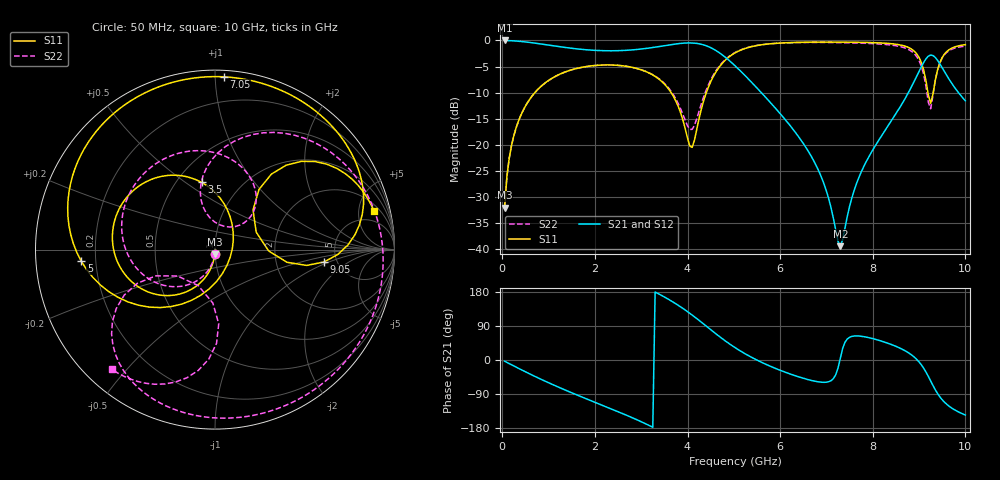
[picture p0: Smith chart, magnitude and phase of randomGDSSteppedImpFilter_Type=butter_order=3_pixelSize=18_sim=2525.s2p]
! freq	dB(S11)	phase(S11)	dB(S12)	phase(S12)
!  dB(S21)	phase(S21)	dB(S22)	phase(S22)
!S-par simulation data
#  GHz  S  DB  R 50
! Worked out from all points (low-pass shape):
!   200 points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, 50 MHz to 10 GHz, reference 50 ohm
!   highest |S21| = -0.01 dB at 50 MHz (marker M1); lowest = -39.4 dB at 7.3 GHz (marker M2)
!   |S21| within 3 dB of the highest: start of sweep to 4.785 GHz; 9.203 GHz to 9.315 GHz (111.9 MHz wide, 1.21 % of centre)
!   lowest |S11| = -32.0 dB at 50 MHz (marker M3), VSWR 1.05, Z = 49.8 - j2.49 ohm
!   |S11| at or under -10 dB: start of sweep to 704.3 MHz; 3.646 GHz to 4.406 GHz (760.2 MHz wide, 18.9 % of centre); 9.191 GHz to 9.305 GHz (114.1 MHz wide, 1.23 % of centre)
!   |S22| runs from -32.1 to -0.4 dB; largest |S21 - S12| = 0
!   S11 on the Smith chart (normalised r, x): 50 MHz: 1.00, -0.05; 3.5 GHz: 0.66, +0.58; 5 GHz: 0.14, -0.04; 7.05 GHz: 0.04, +1.05; 9.05 GHz: 3.95, -0.87; 10 GHz: 2.83, +7.20
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0.05  -32.05 -92.9  -0.01 -3.2  -0.01 -3.2  -32.05 -93.7
0.2  -20.12 -101.6  -0.06 -12.7  -0.06 -12.7  -20.13 -104.6
0.5  -12.58 -117.9  -0.29 -31.2  -0.29 -31.2  -12.59 -125.5
1.75  -5.10 -175.9  -1.74 -99.1  -1.74 -99.1  -5.11 156.7
2.65  -4.93 146.9  -1.91 -144.0  -1.91 -144.0  -4.93 104.7
3.4  -7.54 108.2  -1.16 173.0  -1.16 173.0  -7.46 59.7
3.5  -8.36 101.3  -1.01 166.4  -1.01 166.4  -8.24 53.9
4.1  -20.50 -25.9  -0.49 118.6  -0.49 118.6  -17.05 79.1
4.55  -7.03 -133.5  -1.61 75.2  -1.61 75.2  -6.75 95.8
5  -2.52 -175.0  -4.64 34.7  -4.64 34.7  -2.45 59.3
5.05  -2.27 -178.8  -5.06 30.8  -5.06 30.8  -2.21 55.3
5.8  -0.63 137.3  -12.01 -17.2  -12.01 -17.2  -0.63 4.0
6.7  -0.33 100.1  -22.66 -54.7  -22.66 -54.7  -0.38 -41.7
7.05  -0.32 87.1  -30.40 -57.2  -30.40 -57.2  -0.39 -56.9
7.3  -0.33 78.0  -39.45 5.1  -39.45 5.1  -0.42 -67.1
7.7  -0.36 63.4  -26.28 63.3  -26.28 63.3  -0.50 -83.0
8.35  -0.59 37.6  -16.13 43.2  -16.13 43.2  -0.84 -109.5
9.05  -4.27 -6.5  -5.04 -12.9  -5.04 -12.9  -4.96 -153.4
9.25  -12.06 22.9  -2.81 -55.4  -2.81 -55.4  -13.10 -115.0
9.35  -7.63 53.8  -3.26 -78.5  -3.26 -78.5  -7.66 -87.1
9.6  -2.12 37.4  -6.75 -117.1  -6.75 -117.1  -2.27 -106.6
10  -0.81 13.7  -11.58 -145.3  -11.58 -145.3  -1.10 -130.7
